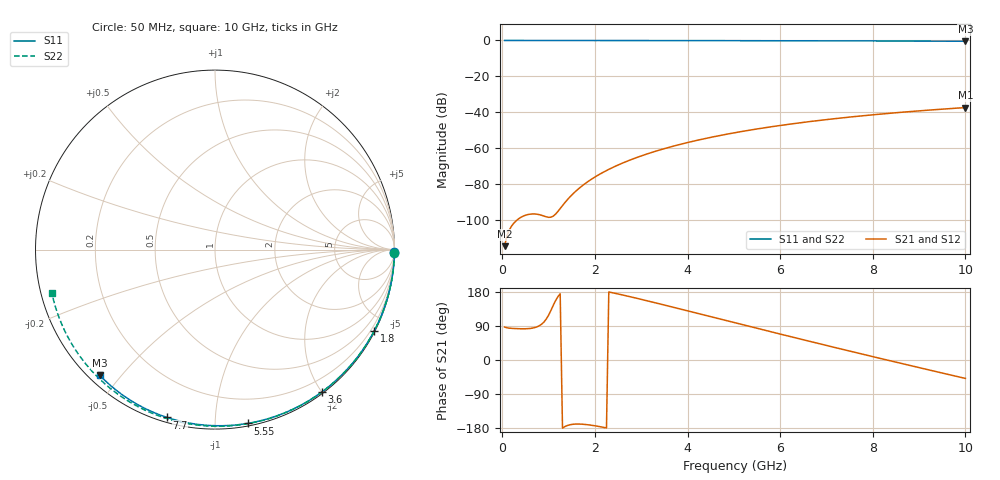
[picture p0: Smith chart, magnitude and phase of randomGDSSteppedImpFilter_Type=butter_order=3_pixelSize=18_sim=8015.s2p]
! freq	dB(S11)	phase(S11)	dB(S12)	phase(S12)
!  dB(S21)	phase(S21)	dB(S22)	phase(S22)
!S-par simulation data
#  GHz  S  DB  R 50
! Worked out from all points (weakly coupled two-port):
!   200 points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, 50 MHz to 10 GHz, reference 50 ohm
!   highest |S21| = -37.35 dB at 10 GHz (marker M1); lowest = -114.5 dB at 50 MHz (marker M2)
!   lowest |S11| = -0.4 dB at 10 GHz (marker M3), VSWR 38.90, Z = 1.53 - j21.9 ohm
!   |S11| at or under -10 dB: nowhere
!   |S22| runs from -0.5 to 0.0 dB; largest |S21 - S12| = 0
!   S11 on the Smith chart (normalised r, x): 50 MHz: open; 1.8 GHz: 0.04, -4.13; 3.6 GHz: 0.02, -2.00; 5.55 GHz: 0.02, -1.20; 7.7 GHz: 0.02, -0.75; 10 GHz: 0.03, -0.44
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0.05  -0.00 -0.8  -114.47 87.0  -114.47 87.0  -0.00 -1.0
0.45  -0.01 -6.9  -97.78 82.3  -97.78 82.3  -0.01 -8.7
0.85  -0.02 -13.0  -97.30 94.5  -97.30 94.5  -0.02 -16.3
1.3  -0.02 -19.7  -91.88 -179.7  -91.88 -179.7  -0.03 -24.8
1.75  -0.03 -26.5  -80.39 -169.6  -80.39 -169.6  -0.04 -33.2
1.8  -0.03 -27.2  -79.43 -170.2  -79.43 -170.2  -0.04 -34.1
1.95  -0.04 -29.4  -76.80 -172.6  -76.80 -172.6  -0.05 -36.9
2.1  -0.04 -31.6  -74.48 -175.7  -74.48 -175.7  -0.05 -39.6
2.3  -0.04 -34.6  -71.73 179.5  -71.73 179.5  -0.05 -43.3
2.5  -0.05 -37.5  -69.31 174.3  -69.31 174.3  -0.06 -46.9
2.9  -0.06 -43.3  -65.17 163.0  -65.17 163.0  -0.07 -54.0
3.4  -0.07 -50.4  -60.94 148.1  -60.94 148.1  -0.08 -62.8
3.6  -0.07 -53.2  -59.47 142.0  -59.47 142.0  -0.09 -66.2
4.3  -0.09 -62.8  -55.03 120.5  -55.03 120.5  -0.11 -78.0
5.05  -0.11 -72.9  -51.20 97.5  -51.20 97.5  -0.14 -90.2
5.55  -0.13 -79.4  -49.04 82.2  -49.04 82.2  -0.16 -98.2
6.1  -0.15 -86.4  -46.95 65.4  -46.95 65.4  -0.19 -106.7
6.7  -0.18 -93.9  -44.95 47.4  -44.95 47.4  -0.22 -115.8
7.7  -0.24 -106.0  -42.12 17.7  -42.12 17.7  -0.30 -130.7
8.35  -0.29 -113.6  -40.56 -1.3  -40.56 -1.3  -0.35 -140.4
9.2  -0.36 -123.4  -38.78 -25.8  -38.78 -25.8  -0.44 -153.0
10  -0.45 -132.6  -37.35 -48.7  -37.35 -48.7  -0.53 -165.2
